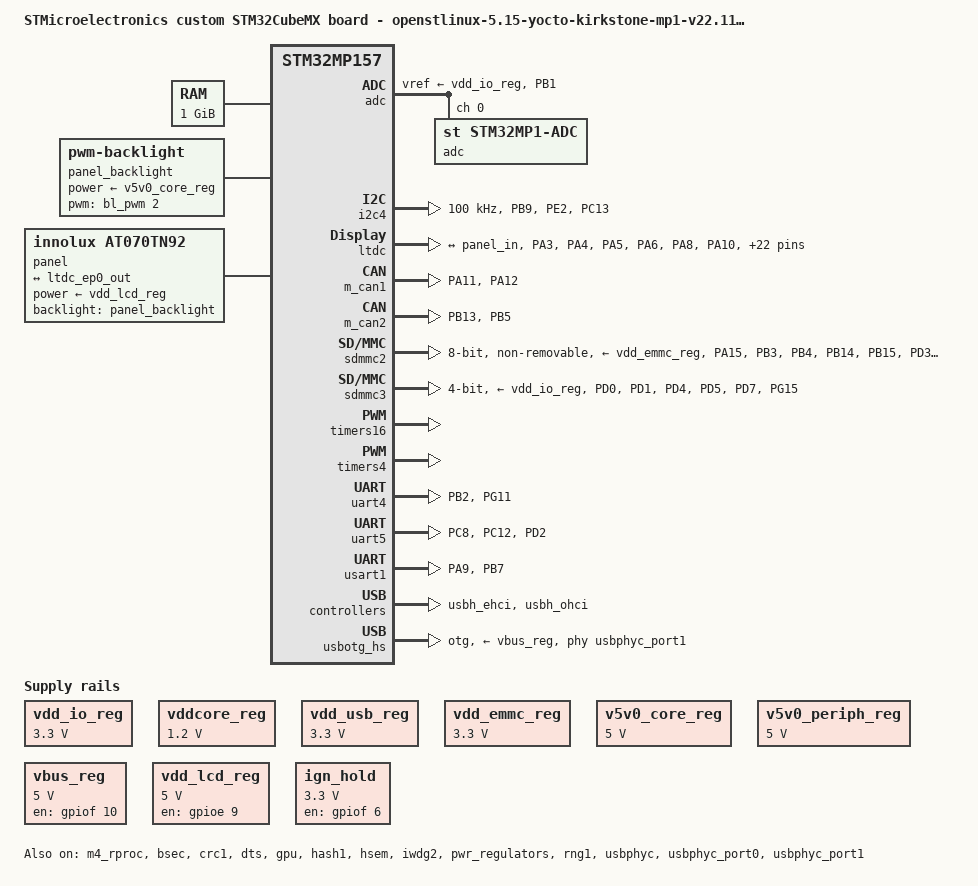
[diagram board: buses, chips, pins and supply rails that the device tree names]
/* SPDX-License-Identifier: (GPL-2.0+ OR BSD-3-Clause) */
/*
 * Copyright (C) STMicroelectronics 2023 - All Rights Reserved
 * Author: STM32CubeMX code generation for STMicroelectronics.
 */

/* For more information on Device Tree configuration, please refer to
 * https://wiki.st.com/stm32mpu/wiki/Category:Device_tree_configuration
 */

/dts-v1/;
#include <dt-bindings/pinctrl/stm32-pinfunc.h>

#include "stm32mp157.dtsi"
#include "stm32mp15xa.dtsi"
#include "stm32mp15xxab-pinctrl.dtsi"
#include "stm32mp15-m4-srm.dtsi"

/* USER CODE BEGIN includes */
#include "rcd-lcd.dtsi"
/* USER CODE END includes */

/ {
	model = "STMicroelectronics custom STM32CubeMX board - openstlinux-5.15-yocto-kirkstone-mp1-v22.11.23";
	compatible = "st,stm32mp157a-right_cost_display-mx", "st,stm32mp157";

	memory@c0000000 {
		device_type = "memory";
		reg = <0xc0000000 0x40000000>;

		/* USER CODE BEGIN memory */
		/* SL: Currently set to maximum supported 8Gb (1GiB) programmatically modified in tf-a & u-boot */
		/* USER CODE END memory */
	};

	reserved-memory {
		#address-cells = <1>;
		#size-cells = <1>;
		ranges;

		/* USER CODE BEGIN reserved-memory */
		/* TODO: Can these be placed outside of root reserved-memory since they are not DRAM but sysram? */
		/* Each of these takes 8ms to reserve in u-boot (not sure if called multiple times) */
		mcuram2: mcuram2@10000000 {
			compatible = "shared-dma-pool";
			reg = <0x10000000 0x40000>;
			no-map;
		};

		vdev0vring0: vdev0vring0@10040000 {
			compatible = "shared-dma-pool";
			reg = <0x10040000 0x1000>;
			no-map;
		};

		vdev0vring1: vdev0vring1@10041000 {
			compatible = "shared-dma-pool";
			reg = <0x10041000 0x1000>;
			no-map;
		};

		vdev0buffer: vdev0buffer@10042000 {
			compatible = "shared-dma-pool";
			reg = <0x10042000 0x4000>;
			no-map;
		};

		mcuram: mcuram@30000000 {
			compatible = "shared-dma-pool";
			reg = <0x30000000 0x40000>;
			no-map;
		};

		retram: retram@38000000 {
			compatible = "shared-dma-pool";
			reg = <0x38000000 0x10000>;
			no-map;
		};

		// SL: Re-evaluate, currently allocating 32MiB
		gpu_reserved: gpu@c8000000 {
			reg = <0xc8000000 0x2000000>;
			no-map;
		};
		/* USER CODE END reserved-memory */
	};

	/* USER CODE BEGIN root */
	aliases {
		serial0 = &uart4;		/* Console */
		serial1 = &uart5;		/* RS-485 */
		serial2 = &usart1;		/* WLAN uart */
		ethernet0 = &ethernet0;
	};

	// This must be controlled manually by userspace so we can easily take control of GPIO to reset the ESP32 and update firmware
	// vdd_wlan_reg: vdd_wlan_reg {
	// 	compatible = "regulator-fixed";
	// 	regulator-name = "vdd_wlan_reg";
	// 	regulator-min-microvolt = <3300000>;
	// 	regulator-max-microvolt = <3300000>;
	// 	enable-active-high;			
	// 	gpio = <&gpioc 15 GPIO_ACTIVE_HIGH>;
	// 	regulator-boot-on;		/* Turn on immediately */
	// };

	vdd_io_reg: vdd_io_reg {
		compatible = "regulator-fixed";
		regulator-name = "vdd_io_reg";
		regulator-min-microvolt = <3300000>;
		regulator-max-microvolt = <3300000>;
		regulator-always-on;		
	};

	vddcore_reg: vddcore_reg {
		compatible = "regulator-fixed";
		regulator-name = "vddcore_reg";
		regulator-min-microvolt = <1200000>;
		regulator-max-microvolt = <1200000>;
		regulator-always-on;
	};

	vdd_usb_reg: vdd_usb_reg {
		compatible = "regulator-fixed";
		regulator-name = "vdd_usb_reg";
		regulator-min-microvolt = <3300000>;
		regulator-max-microvolt = <3300000>;
		regulator-always-on;
	};

	vdd_emmc_reg: vdd_emmc_reg {
		compatible = "regulator-fixed";
		regulator-name = "vdd_emmc_reg";
		regulator-min-microvolt = <3300000>;
		regulator-max-microvolt = <3300000>;
		regulator-always-on;
	};

	// 5V core regulator that goes to CPU (also touch panel regulator)
	v5v0_core_reg: v5v0_core_reg {
		compatible = "regulator-fixed";
		regulator-name = "v5v0_core_reg";
		regulator-min-microvolt = <5000000>;
		regulator-max-microvolt = <5000000>;
		regulator-always-on;
	};

	// 5V regulator that goes to peripherals
	v5v0_periph_reg: v5v0_periph_reg {
		compatible = "regulator-fixed";
		regulator-name = "v5v0_periph_reg";
		regulator-min-microvolt = <5000000>;
		regulator-max-microvolt = <5000000>;
		regulator-always-on;
	};

	vdd_io_reg: vdd_io_reg {
		compatible = "regulator-fixed";
		regulator-name = "vdd_io_reg";
		regulator-min-microvolt = <3300000>;
		regulator-max-microvolt = <3300000>;
		regulator-always-on;
	};

	vbus_reg: vbus_reg {
		compatible = "regulator-fixed";
		regulator-name = "vbus_reg";
		regulator-min-microvolt = <5000000>;
		regulator-max-microvolt = <5000000>;
		gpio = <&gpiof 10 GPIO_ACTIVE_HIGH>;
		enable-active-high;		
	};

	vdd_lcd_reg: vdd_lcd_reg {
		compatible = "regulator-fixed";
		regulator-name = "vdd_lcd_reg";
		regulator-min-microvolt = <5000000>;
		regulator-max-microvolt = <5000000>;
		gpio = <&gpioe 9 GPIO_ACTIVE_HIGH>;
		enable-active-high;
		regulator-boot-on;		/* Turn on immediately */
	};
	
	// This regulator was defined for the unused Hycon screen. This unused 
	//   definition caused a conflict with GPIOA pin 14 needed as a reset
	//   line by the Atmel touchscreen driver so has been commented out. 
	// vdd_tp_reg: vdd_tp_reg {
	// 	compatible = "regulator-fixed";
	// 	regulator-name = "vdd_tp_reg";
	// 	regulator-min-microvolt = <3300000>;
	// 	regulator-max-microvolt = <3300000>;
	//	gpio = <&gpioa 14 GPIO_ACTIVE_HIGH>;
	// 	enable-active-high;
	// 	regulator-boot-on;
	// };

	ign_hold: ign_hold {
		compatible = "regulator-fixed";
		regulator-name = "ign_hold";
		regulator-min-microvolt = <3300000>;
		regulator-max-microvolt = <3300000>;
		gpio = <&gpiof 6 GPIO_ACTIVE_HIGH>;
		enable-active-high;
		regulator-always-on;
	};

	panel_backlight: panel_backlight {
		status = "okay";
		compatible = "pwm-backlight";
		// request pwmChip0-channel 2 at 50K nano secs period (20KHz frequency)
		pwms = <&bl_pwm 2 50000>;
		// brightness levels (0-19 inclusive) corresponding to backlight intensity
		brightness-levels = <0 15 30 45 60 75 90 105 120 135 150 165 180 195 210 225 240 255 270 285>;
		// default as index into brightness levels array
		default-brightness-level = <10>;
		// power supply may not be neccesary but suggested by example bindings
		power-supply = <&v5v0_core_reg>;
		// linear scale for increase/decreasing brightness
		scale = "linear";
		default-on;
	};

	panel: panel {
		// panel node configures physical screen

		// default is 5 inch for now. Overlay will take care of setting 7 inch config
		compatible = "innolux,at070tn92";	// 5inch compatibility
		power-supply = <&vdd_lcd_reg>;
		backlight = <&panel_backlight>;
		//enable-gpios = <&gpioe 12 GPIO_ACTIVE_HIGH>;
		//reset-gpios = <&gpioe 11 GPIO_ACTIVE_HIGH>;
		status = "okay";

		port@0 {
        	reg = <0>;          		
          	panel_in: endpoint {
            	remote-endpoint = <&ltdc_ep0_out>;
			};
		};
	};

	usb_phy_tuning: usb-phy-tuning {
		st,hs-dc-level = <2>;
		st,fs-rftime-tuning;
		st,hs-rftime-reduction;
		st,hs-current-trim = <15>;
		st,hs-impedance-trim = <1>;
		st,squelch-level = <3>;
		st,hs-rx-offset = <2>;
		st,no-lsfs-sc;
	};

	/* USER CODE END root */

	clocks {

		/* USER CODE BEGIN clocks */
		/* USER CODE END clocks */
	};

}; /*root*/

&pinctrl {

	adc_pins_mx: adc_mx-0 {
		pins {
			pinmux = <STM32_PINMUX('A', 0, ANALOG)>, /* ADC1_INP16 */
					 <STM32_PINMUX('B', 1, ANALOG)>, /* ADC1_INP5 */
					 <STM32_PINMUX('C', 2, ANALOG)>, /* ADC1_INP12 */
					 <STM32_PINMUX('C', 3, ANALOG)>; /* ADC1_INP13 */
		};
	};

	adc_sleep_pins_mx: adc_sleep_mx-0 {
		pins {
			pinmux = <STM32_PINMUX('A', 0, ANALOG)>, /* ADC1_INP16 */
					 <STM32_PINMUX('B', 1, ANALOG)>, /* ADC1_INP5 */
					 <STM32_PINMUX('C', 2, ANALOG)>, /* ADC1_INP12 */
					 <STM32_PINMUX('C', 3, ANALOG)>; /* ADC1_INP13 */
		};
	};

	fdcan1_pins_mx: fdcan1_mx-0 {
		pins1 {
			pinmux = <STM32_PINMUX('A', 11, AF9)>; /* FDCAN1_RX */
			bias-disable;
		};
		pins2 {
			pinmux = <STM32_PINMUX('A', 12, AF9)>; /* FDCAN1_TX */
			bias-disable;
			drive-push-pull;
			slew-rate = <0>;
		};
	};

	fdcan1_sleep_pins_mx: fdcan1_sleep_mx-0 {
		pins {
			pinmux = <STM32_PINMUX('A', 11, ANALOG)>, /* FDCAN1_RX */
					 <STM32_PINMUX('A', 12, ANALOG)>; /* FDCAN1_TX */
		};
	};

	fdcan2_pins_mx: fdcan2_mx-0 {
		pins1 {
			pinmux = <STM32_PINMUX('B', 13, AF9)>; /* FDCAN2_TX */
			bias-disable;
			drive-push-pull;
			slew-rate = <0>;
		};
		pins2 {
			pinmux = <STM32_PINMUX('B', 5, AF9)>; /* FDCAN2_RX */
			bias-disable;
		};
	};

	fdcan2_sleep_pins_mx: fdcan2_sleep_mx-0 {
		pins {
			pinmux = <STM32_PINMUX('B', 5, ANALOG)>, /* FDCAN2_RX */
					 <STM32_PINMUX('B', 13, ANALOG)>; /* FDCAN2_TX */
		};
	};

	i2c4_pins_mx: i2c4_mx-0 {
		pins {
			pinmux = <STM32_PINMUX('B', 9, AF6)>, /* I2C4_SDA */
					 <STM32_PINMUX('E', 2, AF4)>; /* I2C4_SCL */
			bias-pull-up;
			drive-open-drain;
			slew-rate = <0>;
		};
	};

	i2c4_sleep_pins_mx: i2c4_sleep_mx-0 {
		pins {
			pinmux = <STM32_PINMUX('B', 9, ANALOG)>, /* I2C4_SDA */
					 <STM32_PINMUX('E', 2, ANALOG)>; /* I2C4_SCL */
		};
	};

	ltdc_pins_mx: ltdc_mx-0 {
		pins1 {
			pinmux = <STM32_PINMUX('A', 3, AF14)>, /* LTDC_B5 */
					 <STM32_PINMUX('A', 4, AF14)>, /* LTDC_VSYNC */
					 <STM32_PINMUX('A', 5, AF14)>, /* LTDC_R4 */
					 <STM32_PINMUX('A', 6, AF14)>, /* LTDC_G2 */
					 <STM32_PINMUX('A', 8, AF14)>, /* LTDC_R6 */
					 <STM32_PINMUX('A', 10, AF14)>, /* LTDC_B1 */
					 <STM32_PINMUX('B', 0, AF9)>, /* LTDC_R3 */
					 <STM32_PINMUX('B', 8, AF14)>, /* LTDC_B6 */
					 <STM32_PINMUX('B', 10, AF14)>, /* LTDC_G4 */
					 <STM32_PINMUX('C', 0, AF14)>, /* LTDC_R5 */
					 <STM32_PINMUX('C', 6, AF14)>, /* LTDC_HSYNC */
					 <STM32_PINMUX('C', 7, AF14)>, /* LTDC_G6 */
					 <STM32_PINMUX('C', 9, AF14)>, /* LTDC_B2 */
					 <STM32_PINMUX('C', 10, AF14)>, /* LTDC_R2 */
					 <STM32_PINMUX('D', 8, AF14)>, /* LTDC_B7 */
					 <STM32_PINMUX('D', 9, AF14)>, /* LTDC_B0 */
					 <STM32_PINMUX('D', 10, AF14)>, /* LTDC_B3 */
					 <STM32_PINMUX('D', 15, AF14)>, /* LTDC_R1 */
					 <STM32_PINMUX('E', 6, AF14)>, /* LTDC_G1 */
					 <STM32_PINMUX('E', 11, AF14)>, /* LTDC_G3 */
					 <STM32_PINMUX('E', 12, AF14)>, /* LTDC_B4 */
					 <STM32_PINMUX('E', 13, AF14)>, /* LTDC_DE */
					 <STM32_PINMUX('E', 14, AF13)>, /* LTDC_G0 */
					 <STM32_PINMUX('E', 15, AF14)>, /* LTDC_R7 */
					 <STM32_PINMUX('F', 11, AF14)>, /* LTDC_G5 */
					 <STM32_PINMUX('G', 8, AF14)>, /* LTDC_G7 */
					 <STM32_PINMUX('G', 13, AF14)>; /* LTDC_R0 */
			bias-pull-up;
			drive-push-pull;
			slew-rate = <0>;
		};
		pins2 {
			pinmux = <STM32_PINMUX('G', 7, AF14)>; /* LTDC_CLK */
			bias-pull-up;
			drive-push-pull;
			slew-rate = <1>;
		};
	};

	ltdc_sleep_pins_mx: ltdc_sleep_mx-0 {
		pins {
			pinmux = <STM32_PINMUX('A', 3, ANALOG)>, /* LTDC_B5 */
					 <STM32_PINMUX('A', 4, ANALOG)>, /* LTDC_VSYNC */
					 <STM32_PINMUX('A', 5, ANALOG)>, /* LTDC_R4 */
					 <STM32_PINMUX('A', 6, ANALOG)>, /* LTDC_G2 */
					 <STM32_PINMUX('A', 8, ANALOG)>, /* LTDC_R6 */
					 <STM32_PINMUX('A', 10, ANALOG)>, /* LTDC_B1 */
					 <STM32_PINMUX('B', 0, ANALOG)>, /* LTDC_R3 */
					 <STM32_PINMUX('B', 8, ANALOG)>, /* LTDC_B6 */
					 <STM32_PINMUX('B', 10, ANALOG)>, /* LTDC_G4 */
					 <STM32_PINMUX('C', 0, ANALOG)>, /* LTDC_R5 */
					 <STM32_PINMUX('C', 6, ANALOG)>, /* LTDC_HSYNC */
					 <STM32_PINMUX('C', 7, ANALOG)>, /* LTDC_G6 */
					 <STM32_PINMUX('C', 9, ANALOG)>, /* LTDC_B2 */
					 <STM32_PINMUX('C', 10, ANALOG)>, /* LTDC_R2 */
					 <STM32_PINMUX('D', 8, ANALOG)>, /* LTDC_B7 */
					 <STM32_PINMUX('D', 9, ANALOG)>, /* LTDC_B0 */
					 <STM32_PINMUX('D', 10, ANALOG)>, /* LTDC_B3 */
					 <STM32_PINMUX('D', 15, ANALOG)>, /* LTDC_R1 */
					 <STM32_PINMUX('E', 6, ANALOG)>, /* LTDC_G1 */
					 <STM32_PINMUX('E', 11, ANALOG)>, /* LTDC_G3 */
					 <STM32_PINMUX('E', 12, ANALOG)>, /* LTDC_B4 */
					 <STM32_PINMUX('E', 13, ANALOG)>, /* LTDC_DE */
					 <STM32_PINMUX('E', 14, ANALOG)>, /* LTDC_G0 */
					 <STM32_PINMUX('E', 15, ANALOG)>, /* LTDC_R7 */
					 <STM32_PINMUX('F', 11, ANALOG)>, /* LTDC_G5 */
					 <STM32_PINMUX('G', 7, ANALOG)>, /* LTDC_CLK */
					 <STM32_PINMUX('G', 8, ANALOG)>, /* LTDC_G7 */
					 <STM32_PINMUX('G', 13, ANALOG)>; /* LTDC_R0 */
		};
	};

	sdmmc2_pins_mx: sdmmc2_mx-0 {
		pins {
			pinmux = <STM32_PINMUX('A', 15, AF9)>, /* SDMMC2_D5 */
					 <STM32_PINMUX('B', 3, AF9)>, /* SDMMC2_D2 */
					 <STM32_PINMUX('B', 4, AF9)>, /* SDMMC2_D3 */
					 <STM32_PINMUX('B', 14, AF9)>, /* SDMMC2_D0 */
					 <STM32_PINMUX('B', 15, AF9)>, /* SDMMC2_D1 */
					 <STM32_PINMUX('D', 3, AF9)>, /* SDMMC2_D7 */
					 <STM32_PINMUX('E', 3, AF9)>, /* SDMMC2_CK */
					 <STM32_PINMUX('E', 4, AF9)>, /* SDMMC2_D4 */
					 <STM32_PINMUX('E', 5, AF9)>, /* SDMMC2_D6 */
					 <STM32_PINMUX('G', 6, AF10)>; /* SDMMC2_CMD */
			bias-pull-up;
			drive-push-pull;
			slew-rate = <1>;
		};
	};

	sdmmc2_opendrain_pins_mx: sdmmc2_opendrain_mx-0 {
		pins1 {
			pinmux = <STM32_PINMUX('A', 15, AF9)>, /* SDMMC2_D5 */
					 <STM32_PINMUX('B', 3, AF9)>, /* SDMMC2_D2 */
					 <STM32_PINMUX('B', 4, AF9)>, /* SDMMC2_D3 */
					 <STM32_PINMUX('B', 14, AF9)>, /* SDMMC2_D0 */
					 <STM32_PINMUX('B', 15, AF9)>, /* SDMMC2_D1 */
					 <STM32_PINMUX('D', 3, AF9)>, /* SDMMC2_D7 */
					 <STM32_PINMUX('E', 3, AF9)>, /* SDMMC2_CK */
					 <STM32_PINMUX('E', 4, AF9)>, /* SDMMC2_D4 */
					 <STM32_PINMUX('E', 5, AF9)>; /* SDMMC2_D6 */
			bias-pull-up;
			drive-push-pull;
			slew-rate = <1>;
		};
		pins2 {
			pinmux = <STM32_PINMUX('G', 6, AF10)>; /* SDMMC2_CMD */
			bias-pull-up;
			drive-open-drain;
			slew-rate = <1>;
		};
	};

	sdmmc2_sleep_pins_mx: sdmmc2_sleep_mx-0 {
		pins {
			pinmux = <STM32_PINMUX('A', 15, ANALOG)>, /* SDMMC2_D5 */
					 <STM32_PINMUX('B', 3, ANALOG)>, /* SDMMC2_D2 */
					 <STM32_PINMUX('B', 4, ANALOG)>, /* SDMMC2_D3 */
					 <STM32_PINMUX('B', 14, ANALOG)>, /* SDMMC2_D0 */
					 <STM32_PINMUX('B', 15, ANALOG)>, /* SDMMC2_D1 */
					 <STM32_PINMUX('D', 3, ANALOG)>, /* SDMMC2_D7 */
					 <STM32_PINMUX('E', 3, ANALOG)>, /* SDMMC2_CK */
					 <STM32_PINMUX('E', 4, ANALOG)>, /* SDMMC2_D4 */
					 <STM32_PINMUX('E', 5, ANALOG)>, /* SDMMC2_D6 */
					 <STM32_PINMUX('G', 6, ANALOG)>; /* SDMMC2_CMD */
		};
	};

	sdmmc3_pins_mx: sdmmc3_mx-0 {
		pins {
			pinmux = <STM32_PINMUX('D', 0, AF10)>, /* SDMMC3_CMD */
					 <STM32_PINMUX('D', 1, AF10)>, /* SDMMC3_D0 */
					 <STM32_PINMUX('D', 4, AF10)>, /* SDMMC3_D1 */
					 <STM32_PINMUX('D', 5, AF10)>, /* SDMMC3_D2 */
					 <STM32_PINMUX('D', 7, AF10)>, /* SDMMC3_D3 */
					 <STM32_PINMUX('G', 15, AF10)>; /* SDMMC3_CK */
			bias-pull-up;
			drive-push-pull;
			slew-rate = <0>;
		};
	};

	sdmmc3_opendrain_pins_mx: sdmmc3_opendrain_mx-0 {
		pins1 {
			pinmux = <STM32_PINMUX('D', 0, AF10)>; /* SDMMC3_CMD */
			bias-pull-up;
			drive-open-drain;
			slew-rate = <0>;
		};
		pins2 {
			pinmux = <STM32_PINMUX('D', 1, AF10)>, /* SDMMC3_D0 */
					 <STM32_PINMUX('D', 4, AF10)>, /* SDMMC3_D1 */
					 <STM32_PINMUX('D', 5, AF10)>, /* SDMMC3_D2 */
					 <STM32_PINMUX('D', 7, AF10)>, /* SDMMC3_D3 */
					 <STM32_PINMUX('G', 15, AF10)>; /* SDMMC3_CK */
			bias-pull-up;
			drive-push-pull;
			slew-rate = <0>;
		};
	};

	sdmmc3_sleep_pins_mx: sdmmc3_sleep_mx-0 {
		pins {
			pinmux = <STM32_PINMUX('D', 0, ANALOG)>, /* SDMMC3_CMD */
					 <STM32_PINMUX('D', 1, ANALOG)>, /* SDMMC3_D0 */
					 <STM32_PINMUX('D', 4, ANALOG)>, /* SDMMC3_D1 */
					 <STM32_PINMUX('D', 5, ANALOG)>, /* SDMMC3_D2 */
					 <STM32_PINMUX('D', 7, ANALOG)>, /* SDMMC3_D3 */
					 <STM32_PINMUX('G', 15, ANALOG)>; /* SDMMC3_CK */
		};
	};

	tim16_pwm_pins_mx: tim16_pwm_mx-0 {
		pins {
			pinmux = <STM32_PINMUX('B', 6, AF1)>; /* TIM16_CH1N */
			bias-disable;
			drive-push-pull;
			slew-rate = <0>;
		};
	};

	tim16_pwm_sleep_pins_mx: tim16_pwm_sleep_mx-0 {
		pins {
			pinmux = <STM32_PINMUX('B', 6, ANALOG)>; /* TIM16_CH1N */
		};
	};

	tim4_pwm_pins_mx: tim4_pwm_mx-0 {
		pins {
			pinmux = <STM32_PINMUX('D', 14, AF2)>; /* TIM4_CH3 */
			bias-pull-down;
			drive-push-pull;
			slew-rate = <0>;
		};
	};

	tim4_pwm_sleep_pins_mx: tim4_pwm_sleep_mx-0 {
		pins {
			pinmux = <STM32_PINMUX('D', 14, ANALOG)>; /* TIM4_CH3 */
		};
	};

	uart4_pins_mx: uart4_mx-0 {
		pins1 {
			pinmux = <STM32_PINMUX('B', 2, AF8)>; /* UART4_RX */
			bias-pull-up;
		};
		pins2 {
			pinmux = <STM32_PINMUX('G', 11, AF6)>; /* UART4_TX */
			bias-pull-up;
			drive-push-pull;
			slew-rate = <0>;
		};
	};

	uart4_sleep_pins_mx: uart4_sleep_mx-0 {
		pins {
			pinmux = <STM32_PINMUX('B', 2, ANALOG)>, /* UART4_RX */
					 <STM32_PINMUX('G', 11, ANALOG)>; /* UART4_TX */
		};
	};

	uart5_pins_mx: uart5_mx-0 {
		pins1 {
			pinmux = <STM32_PINMUX('C', 8, AF8)>, /* UART5_DE */
					 <STM32_PINMUX('C', 12, AF8)>; /* UART5_TX */
			bias-disable;
			drive-push-pull;
			slew-rate = <0>;
		};
		pins2 {
			pinmux = <STM32_PINMUX('D', 2, AF8)>; /* UART5_RX */
			bias-disable;
		};
	};

	uart5_sleep_pins_mx: uart5_sleep_mx-0 {
		pins {
			pinmux = <STM32_PINMUX('C', 8, ANALOG)>, /* UART5_DE */
					 <STM32_PINMUX('C', 12, ANALOG)>, /* UART5_TX */
					 <STM32_PINMUX('D', 2, ANALOG)>; /* UART5_RX */
		};
	};

	usart1_pins_mx: usart1_mx-0 {
		pins1 {
			pinmux = <STM32_PINMUX('A', 9, AF7)>; /* USART1_TX */
			bias-disable;
			drive-push-pull;
			slew-rate = <0>;
		};
		pins2 {
			pinmux = <STM32_PINMUX('B', 7, AF7)>; /* USART1_RX */
			bias-disable;
		};
	};

	usart1_sleep_pins_mx: usart1_sleep_mx-0 {
		pins {
			pinmux = <STM32_PINMUX('A', 9, ANALOG)>, /* USART1_TX */
					 <STM32_PINMUX('B', 7, ANALOG)>; /* USART1_RX */
		};
	};

	/* USER CODE BEGIN pinctrl */

	
	/***********CAN1 & CAN2 NOTES*************
		CAN1 & CAN2 are assigned to the A7 processor by default.
		They can both be assigned to the M4 processor using device
		tree overlays (see dtb-overlays.bb recipe in /recipes-uboot/).
		The m4_FDCAN nodes below are moved to this USER section
		so that CubeMX does not remove or overwrite them.
		************************************************************/
	/* CAN1 & CAN2 M4 assignments. Not active by default. */
	m4_fdcan1_pins_mx: m4_fdcan1_mx-0 {
		pins {
			pinmux = <STM32_PINMUX('A', 11, RSVD)>, /* FDCAN1_RX */
					 <STM32_PINMUX('A', 12, RSVD)>; /* FDCAN1_TX */
		};
	};

	m4_fdcan2_pins_mx: m4_fdcan2_mx-0 {
		pins {
			pinmux = <STM32_PINMUX('B', 5, RSVD)>, /* FDCAN2_RX */
					 <STM32_PINMUX('B', 13, RSVD)>; /* FDCAN2_TX */
		};
	};

	/* TODO: No way to cause Berni's changes to CAN pinmux, RX pins do not have a "drive" mode   */
	/*       but only bias enable, and slew-rate likewise not applicable.                        */
	/*       Can we figure out why the driver does not work without this change or force it here */
	/* TODO: adc is manually set in ours - can we accomplish these settings in ioc file? */
	/* adc pin-controller config */
	adc1_in5_pins_a: adc1-in5 {
		pins {
			pinmux = <STM32_PINMUX('B', 1, ANALOG)>; /* configure 'PB1' as ANALOG */
		};
	};

	adc1_sleep_in5_pins_a: adc1-sleep-in5 {
		pins {
			pinmux = <STM32_PINMUX('B', 1, ANALOG)>; /* configure 'PB1' as ANALOG */
		};
	};
	/* USER CODE END pinctrl */
};

&pinctrl_z {

	/* USER CODE BEGIN pinctrl_z */
	status = "disabled";
	/* USER CODE END pinctrl_z */
};

&m4_rproc{
	/*Restriction: "memory-region" property is not managed - please to use User-Section if needed*/
	mboxes = <&ipcc 0>, <&ipcc 1>, <&ipcc 2>;
	mbox-names = "vq0", "vq1", "shutdown";
	status = "okay";

	/* USER CODE BEGIN m4_rproc */
	memory-region = <&retram>, <&mcuram>, <&mcuram2>, <&vdev0vring0>,
			<&vdev0vring1>, <&vdev0buffer>;
	mboxes = <&ipcc 0>, <&ipcc 1>, <&ipcc 2>;
	mbox-names = "vq0", "vq1", "shutdown";
	interrupt-parent = <&exti>;
	interrupts = <68 1>;
	wakeup-source;
	/* USER CODE END m4_rproc */

	m4_system_resources{
		status = "okay";
		/* USER CODE BEGIN m4_system_resources */

		/* USER CODE END m4_system_resources */
	};
};

&adc{
	pinctrl-names = "default", "sleep";
	pinctrl-0 = <&adc_pins_mx>;
	pinctrl-1 = <&adc_sleep_pins_mx>;
	status = "okay";

	/* USER CODE BEGIN adc */
	pinctrl-0 = <&adc1_in5_pins_a>; /* Use PB1 pin as ANALOG */
	pinctrl-1 = <&adc1_sleep_in5_pins_a>;
    vdda-supply = <&vdd_io_reg>;
    vref-supply = <&vdd_io_reg>;
	compatible = "st,stm32mp1-adc-core";
	st,syscfg = <&syscfg>;

	adc@0 {
		/* private resources for ADC1 */
		status = "okay";                     /* Enable ADC1 */
		compatible = "st,stm32mp1-adc";
		#io-channel-cells = <1>;
        reg = <0x0>;
		st,adc-channels = <5>; 	// only 1 channel
		st,min-sample-time-nsec = <10000>;
		channel@5 {
			reg = <5>;               /* ADC1 in5 channel is used */
			st,min-sample-time-nsec = <10000>;  /* 10µs sampling time */
		};
	};
	/* USER CODE END adc */
};

&bsec{
	status = "okay";

	/* USER CODE BEGIN bsec */
	/* USER CODE END bsec */
};

&crc1{
	status = "okay";

	/* USER CODE BEGIN crc1 */
	/* USER CODE END crc1 */
};

&dma1{
	status = "okay";

	/* USER CODE BEGIN dma1 */
	sram = <&dma_pool>;
	/* USER CODE END dma1 */
};

&dma2{
	status = "disabled";

	/* USER CODE BEGIN dma2 */
	status = "okay";
	sram = <&dma_pool>;
	/* USER CODE END dma2 */
};

&dmamux1{
	status = "okay";

	dma-masters = <&dma1>;
	dma-channels = <8>;

	/* USER CODE BEGIN dmamux1 */
	/* USER CODE END dmamux1 */
};

&dts{
	status = "okay";

	/* USER CODE BEGIN dts */
	// This is device temperature status
	/* USER CODE END dts */
};

&gpu{
	status = "okay";

	/* USER CODE BEGIN gpu */
	contiguous-area = <&gpu_reserved>;
	/* USER CODE END gpu */
};

&hash1{
	status = "okay";

	/* USER CODE BEGIN hash1 */
	/* USER CODE END hash1 */
};

&hsem{
	status = "okay";

	/* USER CODE BEGIN hsem */
	/* USER CODE END hsem */
};

&i2c4{
	pinctrl-names = "default", "sleep";
	pinctrl-0 = <&i2c4_pins_mx>;
	pinctrl-1 = <&i2c4_sleep_pins_mx>;
	status = "okay";

	/* USER CODE BEGIN i2c4 */
	clock-frequency = <100000>;
	i2c-scl-rising-time-ns = <185>;
	i2c-scl-falling-time-ns = <20>;

	/delete-property/dmas;
	/delete-property/dma-names;
	/* USER CODE END i2c4 */
};

&ipcc{
	status = "okay";

	/* USER CODE BEGIN ipcc */
	/* USER CODE END ipcc */
};

&iwdg2{
	status = "okay";

	/* USER CODE BEGIN iwdg2 */
	timeout-sec = <32>;
	/* USER CODE END iwdg2 */
};

&ltdc{
	pinctrl-names = "default", "sleep";
	pinctrl-0 = <&ltdc_pins_mx>;
	pinctrl-1 = <&ltdc_sleep_pins_mx>;
	status = "okay";

	/* USER CODE BEGIN ltdc */
	port {
		#address-cells = <1>;
		#size-cells = <0>;

		ltdc_ep0_out: endpoint@0 {
			reg = <0>;
			remote-endpoint = <&panel_in>;
		};
	};
	/* USER CODE END ltdc */
};

&m_can1{
	pinctrl-names = "default", "sleep";
	pinctrl-0 = <&fdcan1_pins_mx>;
	pinctrl-1 = <&fdcan1_sleep_pins_mx>;
	status = "okay";

	/* USER CODE BEGIN m_can1 */
	/* USER CODE END m_can1 */
};

&m_can2{
	pinctrl-names = "default", "sleep";
	pinctrl-0 = <&fdcan2_pins_mx>;
	pinctrl-1 = <&fdcan2_sleep_pins_mx>;
	status = "okay";

	/* USER CODE BEGIN m_can2 */
	/* USER CODE END m_can2 */
};

&m4_dma2{
	status = "okay";

	/* USER CODE BEGIN m4_dma2 */
	/* USER CODE END m4_dma2 */
};

&mdma1{
	status = "okay";

	/* USER CODE BEGIN mdma1 */
	/* USER CODE END mdma1 */
};

&pwr_regulators{
	status = "okay";

	/* USER CODE BEGIN pwr_regulators */
	vdd-supply = <&vdd_io_reg>;
	vdd_3v3_usbfs-supply = <&vdd_usb_reg>;
	/* USER CODE END pwr_regulators */
};

&rcc{
	status = "okay";

	/* USER CODE BEGIN rcc */
	/* USER CODE END rcc */
};

&rng1{
	status = "okay";

	/* USER CODE BEGIN rng1 */
	/* USER CODE END rng1 */
};

&rtc{
	status = "okay";

	/* USER CODE BEGIN rtc */
	status = "disabled";
	/* USER CODE END rtc */
};

&sdmmc2{
	pinctrl-names = "default", "opendrain", "sleep";
	pinctrl-0 = <&sdmmc2_pins_mx>;
	pinctrl-1 = <&sdmmc2_opendrain_pins_mx>;
	pinctrl-2 = <&sdmmc2_sleep_pins_mx>;
	status = "okay";

	/* USER CODE BEGIN sdmmc2 */
	non-removable;
	no-sd;
	no-sdio;
	st,neg-edge;
	bus-width = <8>;
	vmmc-supply = <&vdd_emmc_reg>;
	vqmmc-supply = <&vdd_io_reg>;
	//max-frequency=<99000000>;
	mmc-ddr-3_3v;
	/* USER CODE END sdmmc2 */
};

&sdmmc3{
	pinctrl-names = "default", "opendrain", "sleep";
	pinctrl-0 = <&sdmmc3_pins_mx>;
	pinctrl-1 = <&sdmmc3_opendrain_pins_mx>;
	pinctrl-2 = <&sdmmc3_sleep_pins_mx>;
	status = "okay";

	/* USER CODE BEGIN sdmmc3 */
	bus-width = <4>;
	vmmc-supply = <&vdd_io_reg>;
	vqmmc-supply = <&vdd_io_reg>;
	st,neg-edge;
	no-1-8-v;
	max-frequency=<23500000>;  // Seems to pick 25Mhz, so declock a bit to avoid the 50Mhz multiples //TODO: why not 50Mhz per ESP32 datasheet???
	//cd-gpios = <&gpioc 15 GPIO_ACTIVE_HIGH>;
	//cd-inverted;
	cap-sd-highspeed;
	//mmc-ddr-3_3v;
	no-mmc;
	//no-sd;
	disable-wp;
	//broken-cd;
	//non-removable;
	//sd-uhs-sdr12;
	//sd-uhs-sdr25;
	sd-uhs-sdr50;
	//sd-uhs-ddr50;
	//sd-uhs-sdr104;
	/* USER CODE END sdmmc3 */
};

&tamp{
	status = "okay";

	/* USER CODE BEGIN tamp */
	status = "disabled";
	/* USER CODE END tamp */
};

&timers16{
	status = "okay";

	/* USER CODE BEGIN timers16 */
	// spare all DMA channels since they are not needed for PWM output
	/delete-property/dmas;
	/delete-property/dma-names;
	/* USER CODE END timers16 */

	pwm{
		pinctrl-names = "default", "sleep";
		pinctrl-0 = <&tim16_pwm_pins_mx>;
		pinctrl-1 = <&tim16_pwm_sleep_pins_mx>;
		status = "okay";

		/* USER CODE BEGIN timers16_pwm */
		/* buzzer_pwm */
		/* USER CODE END timers16_pwm */
	};
};

&timers4{
	status = "okay";

	/* USER CODE BEGIN timers4 */
	// spare all DMA channels since they are not needed for PWM output
	/delete-property/dmas;
	/delete-property/dma-names;
	bl_pwm: pwm{};
	/* USER CODE END timers4 */

	pwm{
		pinctrl-names = "default", "sleep";
		pinctrl-0 = <&tim4_pwm_pins_mx>;
		pinctrl-1 = <&tim4_pwm_sleep_pins_mx>;
		status = "okay";

		/* USER CODE BEGIN timers4_pwm */
		compatible = "st,stm32-pwm";
		// number of cells expected in the device tree PWM specifier
		#pwm-cells = <2>;
		/* USER CODE END timers4_pwm */
	};
};

&uart4{
	pinctrl-names = "default", "sleep";
	pinctrl-0 = <&uart4_pins_mx>;
	pinctrl-1 = <&uart4_sleep_pins_mx>;
	status = "okay";

	/* USER CODE BEGIN uart4 */
	u-boot,dm-pre-reloc;
	/* USER CODE END uart4 */
};

&uart5{
	pinctrl-names = "default", "sleep";
	pinctrl-0 = <&uart5_pins_mx>;
	pinctrl-1 = <&uart5_sleep_pins_mx>;
	status = "okay";

	/* USER CODE BEGIN uart5 */

	/* Defining the default rs485 configuration here so that we don't have to make ioctl calls in user-space to
	configure rs485 to be enabled. This allows us to use the rs485 output in any environment as long as it supports
	configuring a serial port.*/
	linux,rs485-enabled-at-boot-time;
	rs485-rts-delay = <60 60>;

	/* USER CODE END uart5 */
};

&usart1{
	pinctrl-names = "default", "sleep";
	pinctrl-0 = <&usart1_pins_mx>;
	pinctrl-1 = <&usart1_sleep_pins_mx>;
	status = "okay";

	/* USER CODE BEGIN usart1 */
	/* USER CODE END usart1 */
};

&usbh_ehci{
	status = "okay";

	/* USER CODE BEGIN usbh_ehci */
	/* USER CODE END usbh_ehci */
};

&usbh_ohci{
	status = "okay";

	/* USER CODE BEGIN usbh_ohci */
	/* USER CODE END usbh_ohci */
};

&usbotg_hs{
	status = "okay";

	/* USER CODE BEGIN usbotg_hs */
	u-boot,dm-pre-reloc;
	compatible = "st,stm32mp15-hsotg", "snps,dwc2";
	phys = <&usbphyc_port1 0>;
	phy-names = "usb2-phy";
	dr_mode = "otg";
	usb-role-switch;
	role-switch-default-mode = "peripheral";

	//TODO: In future look to qcom-pmic-typec.c for good/simple example of switching roles and turning on vbus using CC detect
	vbus-supply = <&vbus_reg>;

	// These are just to get rid of a warning - ST does not seem to setup either but this shouldn't hurt
	vusb_a-supply = <&vdd_usb_reg>;
	vusb_d-supply = <&vdd_usb_reg>;
	/* USER CODE END usbotg_hs */
};

&usbphyc{
	status = "okay";

	/* USER CODE BEGIN usbphyc */
	u-boot,dm-pre-reloc;
	/* USER CODE END usbphyc */
};

&usbphyc_port0{
	status = "okay";

	/* USER CODE BEGIN usbphyc_port0 */
	u-boot,dm-pre-reloc;
	/* USER CODE END usbphyc_port0 */
};

&usbphyc_port1{
	status = "okay";

	/* USER CODE BEGIN usbphyc_port1 */
	u-boot,dm-pre-reloc;
	phy-supply = <&vdd_usb_reg>;
	st,phy-tuning = <&usb_phy_tuning>;
	/* USER CODE END usbphyc_port1 */
};

/* USER CODE BEGIN addons */


/***********CAN1 & CAN2 NOTES*************
	CAN1 & CAN2 are assigned to the A7 by default but
	we can change the assignment to the M4
	with an overlay. The m4 nodes below need to
	be present in order for the overlay to work so they have
	been moved to this USER section so that CubeMX does
	not overwrite or remove them.
	*******************************************/
&m4_m_can1{
	pinctrl-names = "default";
	pinctrl-0 = <&m4_fdcan1_pins_mx>;
	status = "disabled";

	/* USER CODE BEGIN m4_m_can1 */
	/* USER CODE END m4_m_can1 */
};

&m4_m_can2{
	pinctrl-names = "default";
	pinctrl-0 = <&m4_fdcan2_pins_mx>;
	status = "disabled";

	/* USER CODE BEGIN m4_m_can2 */
	/* USER CODE END m4_m_can2 */
};



/* TODO: Tried to get this in ioc file - verify that putting it here works */
/*       This change was from Berni 01/11                                  */
&i2c4_pins_mx {
	pins1 {
		pinmux = <STM32_PINMUX('C', 13, GPIO)>; /* GPIO IRQ pin */					 
		bias-pull-up;
		slew-rate = <0>;
	};
};

&i2c4_sleep_pins_mx {
	pins1 {
		pinmux = <STM32_PINMUX('C', 13, ANALOG)>; /* GPIO IRQ pin */
	};
};

/* A label is required for overlay application - so we have to have this here */
/* TODO: As with i2c4 addition above, verify this works */
&ltdc_pins_mx {
	// adding 'ltdc_mx-0-pins2' label to force phandle generation by device tree compiler
	ltdc_mx_0_pins2: pins2 {
		pinmux = <STM32_PINMUX('G', 7, AF14)>; /* LTDC_CLK */
		bias-pull-up;
		drive-push-pull;
		slew-rate = <1>;
	};
};

/* TODO: Can we override here - this was done by Jonathan, see note below */
&sdmmc3_sleep_pins_mx {
	pins {
		// By not using these pins in "sleep", any time the EMMC port is not in use, for
		// example when the esp32 driver is not loaded/probed, then the EMMC sort will be
		// put in sleep power management mode, and these pins are free to be used in userspace
		pinmux = //<STM32_PINMUX('D', 0, ANALOG)>, /* SDMMC3_CMD */
					//<STM32_PINMUX('D', 1, ANALOG)>, /* SDMMC3_D0 */
					//<STM32_PINMUX('D', 4, ANALOG)>, /* SDMMC3_D1 */
					//<STM32_PINMUX('D', 5, ANALOG)>, /* SDMMC3_D2 */
					//<STM32_PINMUX('D', 7, ANALOG)>, /* SDMMC3_D3 */
					<STM32_PINMUX('G', 15, ANALOG)>; /* SDMMC3_CK */
	};
};

&sram {
	dma_pool: dma_pool@0 {
		reg = <0x50000 0x10000>;
		pool;
	};
};

&cpu0{
	cpu-supply = <&vddcore_reg>;
	clock-frequency = <650000000>;	// doesn't do anything but get rid of a warning
};

&cpu1{
	cpu-supply = <&vddcore_reg>;
	clock-frequency = <650000000>;	// doesn't do anything but get rid of a warning
};
/* USER CODE END addons */

